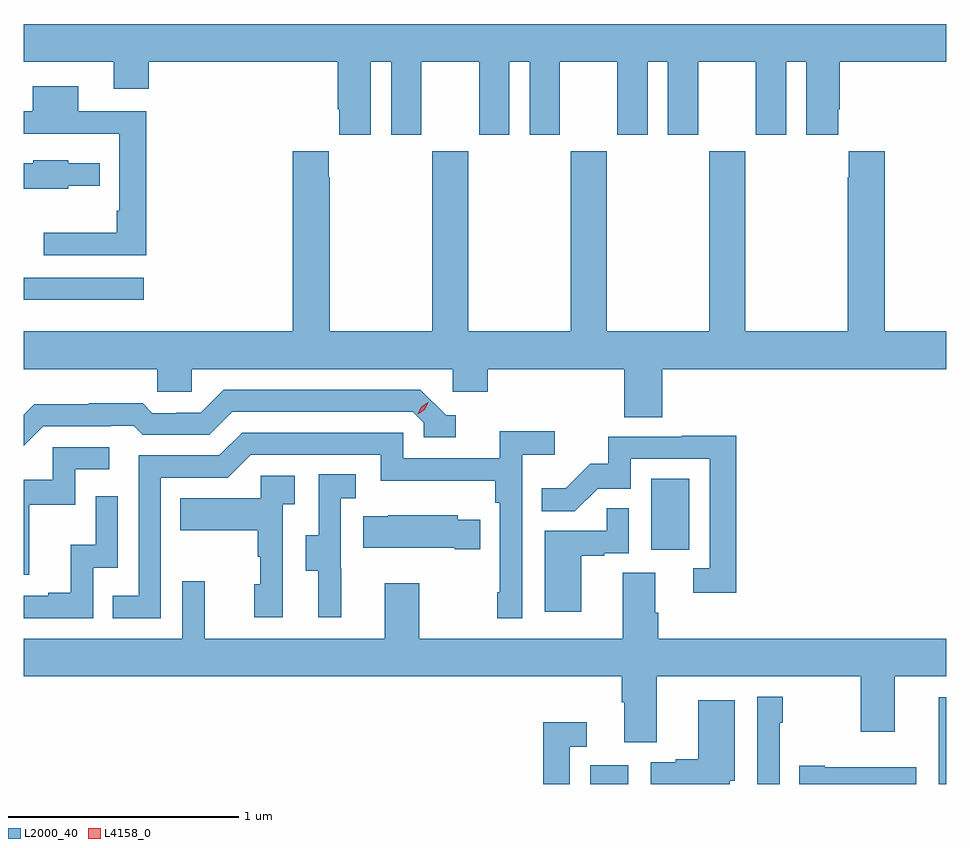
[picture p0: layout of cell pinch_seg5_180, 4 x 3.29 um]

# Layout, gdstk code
import gdstk
lib = gdstk.Library(unit=1e-6, precision=1e-09)
def R(c, l, rs):  # rectangles x0, y0, x1, y1
    for r in rs: c.add(gdstk.rectangle(r[:2], r[2:], *l))
def P(c, l, *ps):  # polygons
    for p in ps: c.add(gdstk.Polygon(p, *l))
L2000_40 = (2000, 40)
L4158_0 = (4158, 0)

pinch_seg5_180 = lib.new_cell('pinch_seg5_180')
R(pinch_seg5_180, L2000_40, [(1131.464,885.598,1131.628,885.679), (1131.728,886.614,1131.892,886.921), (1129.007,887.696,1129.528,887.793)])
P(pinch_seg5_180, L2000_40, [(1130.512,888.728),(1130.6,888.728),(1130.6,888.411),(1130.731,888.411),(1130.731,888.728),(1130.981,888.728),(1130.981,888.411),(1131.112,888.411),(1131.112,888.728),(1131.2,888.728),(1131.2,888.411),(1131.331,888.411),(1131.331,888.728),(1131.581,888.728),(1131.581,888.411),(1131.712,888.411),(1131.712,888.728),(1131.8,888.728),(1131.8,888.411),(1131.931,888.411),(1131.931,888.728),(1132.181,888.728),(1132.181,888.411),(1132.312,888.411),(1132.312,888.728),(1132.4,888.728),(1132.4,888.411),(1132.537,888.411),(1132.537,888.523),(1132.544,888.523),(1132.544,888.728),(1133.007,888.728),(1133.007,888.892),(1129.007,888.892),(1129.007,888.728),(1129.397,888.728),(1129.397,888.611),(1129.55,888.611),(1129.55,888.728),(1130.369,888.728),(1130.369,888.523),(1130.375,888.523),(1130.375,888.411),(1130.512,888.411)],
  [(1129.538,888.513),(1129.243,888.513),(1129.243,888.622),(1129.046,888.622),(1129.046,888.513),(1129.007,888.513),(1129.007,888.417),(1129.422,888.417),(1129.422,888.082),(1129.41,888.082),(1129.41,887.987),(1129.095,887.987),(1129.095,887.889),(1129.538,887.889)],
  [(1131.776,887.396),(1133.007,887.396),(1133.007,887.56),(1132.739,887.56),(1132.739,888.34),(1132.583,888.34),(1132.583,888.227),(1132.579,888.227),(1132.579,887.56),(1132.134,887.56),(1132.134,888.34),(1131.979,888.34),(1131.979,887.56),(1131.534,887.56),(1131.534,888.34),(1131.379,888.34),(1131.379,887.56),(1130.934,887.56),(1130.934,888.34),(1130.779,888.34),(1130.779,887.56),(1130.334,887.56),(1130.334,888.227),(1130.329,888.227),(1130.329,888.34),(1130.174,888.34),(1130.174,887.56),(1129.007,887.56),(1129.007,887.396),(1129.587,887.396),(1129.587,887.298),(1129.737,887.298),(1129.737,887.396),(1130.868,887.396),(1130.868,887.298),(1131.02,887.298),(1131.02,887.396),(1131.611,887.396),(1131.611,887.188),(1131.776,887.188)],
  [(1129.2,888.191),(1129.337,888.191),(1129.337,888.288),(1129.2,888.288),(1129.2,888.301),(1129.05,888.301),(1129.05,888.289),(1129.007,888.289),(1129.007,888.179),(1129.2,888.179)],
  [(1129.092,887.148),(1129.385,887.148),(1129.385,887.151),(1129.484,887.151),(1129.523,887.112),(1129.812,887.112),(1129.911,887.211),(1130.694,887.211),(1130.742,887.163),(1130.742,887.1),(1130.881,887.1),(1130.881,887.196),(1130.838,887.196),(1130.727,887.307),(1129.874,887.307),(1129.775,887.208),(1129.668,887.208),(1129.668,887.205),(1129.565,887.205),(1129.523,887.248),(1129.29,887.248),(1129.29,887.245),(1129.054,887.245),(1129.007,887.198),(1129.007,887.063)],
  [(1129.602,886.926),(1129.893,886.926),(1129.992,887.025),(1130.556,887.025),(1130.556,886.913),(1131.052,886.913),(1131.052,886.817),(1131.072,886.817),(1131.072,886.429),(1131.06,886.429),(1131.06,886.317),(1131.168,886.317),(1131.168,887.024),(1131.31,887.024),(1131.31,887.126),(1131.071,887.126),(1131.071,887.01),(1130.652,887.01),(1130.652,887.121),(1129.955,887.121),(1129.856,887.022),(1129.506,887.022),(1129.506,886.413),(1129.393,886.413),(1129.393,886.317),(1129.602,886.317)],
  [(1132.097,887.108),(1131.859,887.108),(1131.859,887.103),(1131.541,887.103),(1131.541,886.986),(1131.464,886.986),(1131.357,886.879),(1131.253,886.879),(1131.253,886.78),(1131.397,886.78),(1131.495,886.878),(1131.639,886.878),(1131.639,887.007),(1131.981,887.007),(1131.981,886.533),(1131.909,886.533),(1131.909,886.428),(1132.097,886.428)],
  [(1129.031,886.809),(1129.23,886.809),(1129.23,886.962),(1129.378,886.962),(1129.378,887.058),(1129.134,887.058),(1129.134,886.917),(1129.007,886.917),(1129.007,886.506),(1129.031,886.506)],
  [(1130.384,886.533),(1130.382,886.533),(1130.382,886.837),(1130.446,886.837),(1130.446,886.94),(1130.286,886.94),(1130.286,886.677),(1130.231,886.677),(1130.231,886.522),(1130.285,886.522),(1130.285,886.32),(1130.384,886.32)],
  [(1130.13,886.811),(1130.182,886.811),(1130.182,886.935),(1130.034,886.935),(1130.034,886.837),(1129.687,886.837),(1129.687,886.697),(1130.022,886.697),(1130.022,886.583),(1130.032,886.583),(1130.032,886.464),(1130.006,886.464),(1130.006,886.32),(1130.13,886.32)],
  [(1129.308,886.536),(1129.416,886.536),(1129.416,886.846),(1129.32,886.846),(1129.32,886.634),(1129.211,886.634),(1129.211,886.426),(1129.115,886.426),(1129.115,886.413),(1129.007,886.413),(1129.007,886.317),(1129.308,886.317)],
  [(1131.424,886.587),(1131.524,886.587),(1131.524,886.599),(1131.63,886.599),(1131.63,886.793),(1131.535,886.793),(1131.535,886.695),(1131.266,886.695),(1131.266,886.344),(1131.424,886.344)],
  [(1130.987,886.744),(1130.889,886.744),(1130.889,886.762),(1130.587,886.762),(1130.587,886.759),(1130.479,886.759),(1130.479,886.622),(1130.876,886.622),(1130.876,886.615),(1130.987,886.615)],
  [(1131.751,886.064),(1132.636,886.064),(1132.636,885.825),(1132.783,885.825),(1132.783,886.064),(1133.007,886.064),(1133.007,886.228),(1131.758,886.228),(1131.758,886.34),(1131.745,886.34),(1131.745,886.514),(1131.605,886.514),(1131.605,886.228),(1130.721,886.228),(1130.721,886.468),(1130.573,886.468),(1130.573,886.228),(1129.793,886.228),(1129.793,886.477),(1129.695,886.477),(1129.695,886.228),(1129.007,886.228),(1129.007,886.064),(1131.599,886.064),(1131.599,885.952),(1131.611,885.952),(1131.611,885.778),(1131.751,885.778)],
  [(1132.284,885.863),(1132.297,885.863),(1132.297,885.976),(1132.188,885.976),(1132.188,885.598),(1132.284,885.598)],
  [(1133.007,885.973),(1132.973,885.973),(1132.973,885.759),(1132.974,885.759),(1132.974,885.598),(1133.007,885.598)],
  [(1132.068,885.612),(1132.09,885.612),(1132.09,885.961),(1131.932,885.961),(1131.932,885.706),(1131.833,885.706),(1131.833,885.693),(1131.726,885.693),(1131.726,885.598),(1132.068,885.598)],
  [(1131.375,885.759),(1131.448,885.759),(1131.448,885.865),(1131.259,885.865),(1131.259,885.598),(1131.375,885.598)],
  [(1132.877,885.67),(1132.48,885.67),(1132.48,885.678),(1132.369,885.678),(1132.369,885.598),(1132.877,885.598)])
P(pinch_seg5_180, L4158_0, [(1130.715,887.2),(1130.715,887.2),(1130.731,887.233),(1130.761,887.252),(1130.762,887.252),(1130.762,887.252),(1130.746,887.219),(1130.716,887.2)])

lib.write_gds('pinch_seg5_180.gds')
